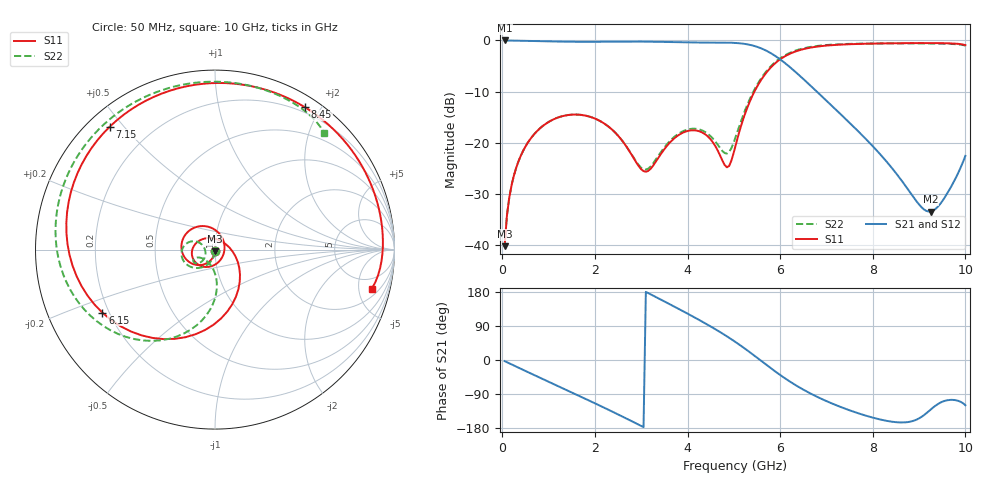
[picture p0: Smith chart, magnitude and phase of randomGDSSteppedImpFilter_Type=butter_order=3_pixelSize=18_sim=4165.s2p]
! freq	dB(S11)	phase(S11)	dB(S12)	phase(S12)
!  dB(S21)	phase(S21)	dB(S22)	phase(S22)
!S-par simulation data
#  GHz  S  DB  R 50
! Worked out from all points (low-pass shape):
!   200 points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, 50 MHz to 10 GHz, reference 50 ohm
!   highest |S21| = 0.00 dB at 50 MHz (marker M1); lowest = -33.4 dB at 9.25 GHz (marker M2)
!   |S21| within 3 dB of the highest: start of sweep to 5.89 GHz
!   lowest |S11| = -40.2 dB at 50 MHz (marker M3), VSWR 1.02, Z = 49.9 - j0.976 ohm
!   |S11| at or under -10 dB: start of sweep to 5.445 GHz
!   |S22| runs from -40.1 to -0.6 dB; largest |S21 - S12| = 0
!   S11 on the Smith chart (normalised r, x): 50 MHz: 1.00, -0.02; 6.15 GHz: 0.17, -0.25; 7.15 GHz: 0.06, +0.46; 8.45 GHz: 0.14, +1.81; 10 GHz: 2.94, -6.80
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0.05  -40.19 -92.6  -0.00 -2.9  -0.00 -2.9  -40.13 -91.2
0.1  -34.22 -96.0  -0.01 -5.9  -0.01 -5.9  -34.21 -94.6
0.2  -28.30 -102.7  -0.03 -11.7  -0.03 -11.7  -28.29 -100.4
0.5  -20.73 -122.5  -0.07 -28.9  -0.07 -28.9  -20.72 -116.3
1.15  -15.24 -164.2  -0.21 -66.0  -0.21 -66.0  -15.23 -149.0
1.75  -14.61 155.8  -0.27 -99.9  -0.27 -99.9  -14.60 -176.9
2.65  -20.34 78.6  -0.22 -152.6  -0.22 -152.6  -20.31 156.2
3.05  -25.53 2.4  -0.23 -177.2  -0.23 -177.2  -25.19 -175.7
3.4  -22.52 -78.4  -0.28 160.9  -0.28 160.9  -22.14 -140.5
4.3  -17.91 -178.5  -0.41 102.4  -0.41 102.4  -17.52 -154.8
4.85  -24.79 70.4  -0.43 62.5  -0.43 62.5  -22.11 -125.6
5.05  -20.10 -6.2  -0.50 46.3  -0.50 46.3  -18.57 -92.9
5.55  -8.28 -85.0  -1.40 1.6  -1.40 1.6  -7.95 -100.4
5.85  -4.82 -119.7  -2.77 -26.3  -2.77 -26.3  -4.58 -121.1
6.15  -2.86 -150.7  -4.75 -52.1  -4.75 -52.1  -2.67 -142.3
6.7  -1.34 162.1  -9.21 -91.2  -9.21 -91.2  -1.20 -175.9
7.15  -0.90 130.5  -13.06 -116.3  -13.06 -116.3  -0.80 161.6
7.7  -0.68 97.2  -17.88 -141.1  -17.88 -141.1  -0.63 137.8
8.35  -0.57 62.6  -24.23 -161.7  -24.23 -161.7  -0.57 112.1
8.45  -0.55 57.7  -25.34 -163.4  -25.34 -163.4  -0.57 108.3
9.25  -0.52 20.5  -33.43 -130.9  -33.43 -130.9  -0.60 77.9
10  -0.92 -14.2  -22.55 -119.4  -22.55 -119.4  -1.02 46.9
